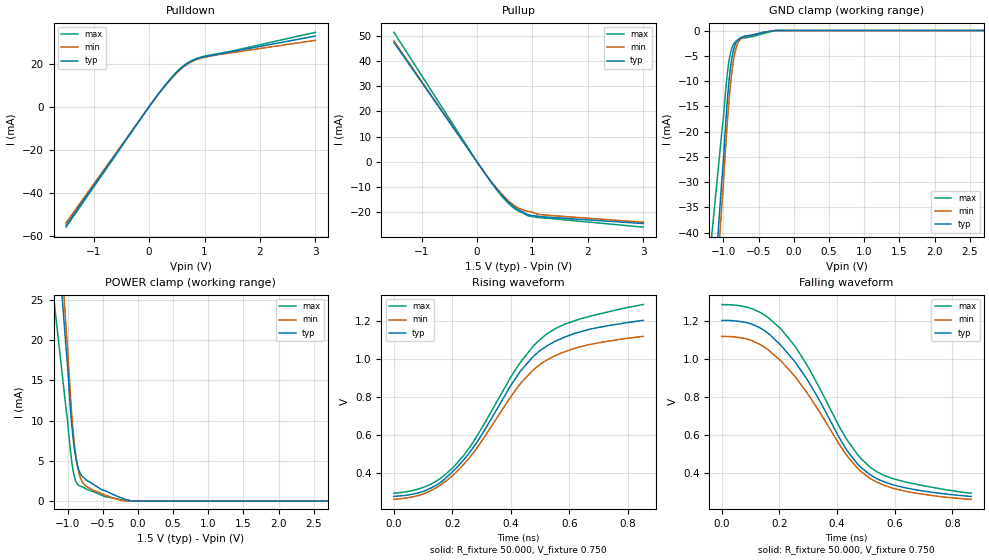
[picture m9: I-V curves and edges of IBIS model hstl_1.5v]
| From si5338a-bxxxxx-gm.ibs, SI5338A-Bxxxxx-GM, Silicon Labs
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[Model]   hstl_1.5v
Model_type 3-state
Vref=7.500E-01
Rref=5.000E+02
Cref=0.000E+00
Vmeas=7.500E-01
C_comp   1.140E-12   1.120E-12   1.160E-12
[Voltage Range]   1.500E+00   1.400E+00   1.600E+00
[POWER Clamp Reference]   1.500E+00   1.400E+00   1.600E+00
[GND Clamp Reference]   0.000E+00   0.000E+00   0.000E+00
[Pullup Reference]   1.500E+00   1.400E+00   1.600E+00
[Pulldown Reference]   0.000E+00   0.000E+00   0.000E+00
[Temperature Range]   25   85   -40
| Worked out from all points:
|   slope of the pulldown table from 0 to 0.225 V, typ, clamps not added: 29 ohm
|   slope of the pullup table from 0 to 0.225 V, typ, clamps not added: 31.9 ohm
|   GND clamp passes 1 mA (typ) near -0.65 V on its own axis
|   POWER clamp passes 1 mA (typ) near -0.40 V on its own axis
|   rising waveform, R_fixture 50.000, V_fixture 0.750: 20-80 % time 245ps typ, 249ps min, 251ps max; typ from 0.278 V to 1.21 V
|   falling waveform, R_fixture 50.000, V_fixture 0.750: 20-80 % time 228ps typ, 236ps min, 231ps max; typ from 1.21 V to 0.278 V
[GND Clamp]
-1.5V     -123.6mA   -132.7mA   -88.31mA
-1.02V    -29.08mA   -34.02mA   -19.68mA
-1V       -25.6mA    -30.21mA   -17.33mA
-960mV    -16.79mA   -21.35mA   -10.56mA
-940mV    -13.05mA   -17.36mA   -7.945mA
-900mV    -7.342mA   -10.74mA   -4.459mA
-880mV    -5.411mA   -8.187mA   -3.459mA
-840mV    -3.046mA   -4.589mA   -2.361mA
-800mV    -1.965mA   -2.652mA   -1.905mA
-760mV    -1.451mA   -1.745mA   -1.664mA
-260mV    0A         0A         0A
3V        0A         0A         0A
[Power Clamp]
-1.5V     73.83mA    84.37mA    49.15mA
-1.02V    18.75mA    21.31mA    11.28mA
-1V       16.75mA    18.93mA    9.933mA
-960mV    11.54mA    13.14mA    6.277mA
-920mV    7.63mA     8.484mA    3.676mA
-880mV    5.259mA    5.398mA    2.404mA
-840mV    3.84mA     3.51mA     1.944mA
-780mV    2.966mA    2.228mA    1.724mA
-620mV    1.996mA    1.274mA    1.124mA
-240mV    412uA      103.9uA    161.5uA
-80mV     0A         0A         0A
3V        0A         0A         0A
[Pullup]
-1.5V     47.26mA    47.85mA    51.26mA
40mV      -1.268mA   -1.274mA   -1.325mA
260mV     -8.109mA   -7.897mA   -8.251mA
380mV     -11.48mA   -11.05mA   -11.79mA
500mV     -14.43mA   -14mA      -14.9mA
660mV     -17.72mA   -17.12mA   -18.2mA
760mV     -19.13mA   -18.41mA   -19.59mA
920mV     -20.92mA   -19.55mA   -21.33mA
1.06V     -21.4mA    -20.5mA    -21.88mA
3V        -24.38mA   -23.87mA   -25.81mA
[Pulldown]
-1.5V     -55.23mA   -54.02mA   -55.99mA
140mV     4.977mA    4.866mA    4.957mA
380mV     12.62mA    12.35mA    12.78mA
480mV     15.44mA    15.12mA    15.66mA
620mV     18.72mA    18.38mA    18.98mA
800mV     21.56mA    21.25mA    21.77mA
1.04V     23.38mA    23.1mA     23.64mA
1.46V     25.35mA    24.92mA    25.62mA
3V        32.76mA    30.76mA    34.48mA
[Rising Waveform]
R_fixture = 50.000
V_fixture = 0.750
V_fixture_min = 0.700
V_fixture_max = 0.800
|  time   V(typ)   V(min)   V(max)
0s        277.9mV    262.4mV    295.1mV
115ps     313.7mV    300.3mV    334.3mV
166ps     358.6mV    345.3mV    381mV
206ps     416.3mV    395.9mV    436.5mV
291ps     580mV      548.7mV    614.1mV
434ps     940.6mV    874.8mV    987mV
479ps     1.019V     947.4mV    1.073V
525ps     1.072V     998mV      1.136V
665ps     1.157V     1.077V     1.225V
853ps     1.205V     1.121V     1.289V
[Falling Waveform]
R_fixture = 50.000
V_fixture = 0.750
V_fixture_min = 0.700
V_fixture_max = 0.800
|  time   V(typ)   V(min)   V(max)
0s        1.205V     1.121V     1.289V
111ps     1.181V     1.094V     1.263V
164ps     1.134V     1.046V     1.216V
203ps     1.077V     994.8mV    1.163V
291ps     906.1mV    833.8mV    981.5mV
440ps     508.4mV    481.5mV    563.6mV
482ps     432.2mV    411.1mV    479.3mV
521ps     386.1mV    367.2mV    425.1mV
630ps     325.5mV    307.5mV    356.7mV
866ps     277.9mV    262.4mV    295.1mV
[Ramp]
dV/dt_f   5.5628E-01/2.2644E-10   5.1515E-01/2.3459E-10   5.9633E-01/2.3009E-10
dV/dt_r   5.1928E-01/2.4510E-10   4.8115E-01/2.4920E-10   5.5433E-01/2.5120E-10
R_load = 50
